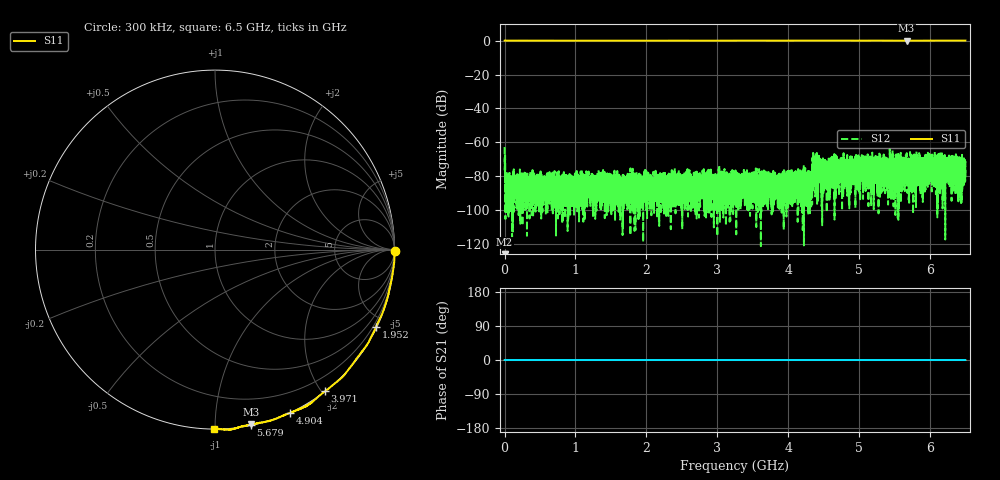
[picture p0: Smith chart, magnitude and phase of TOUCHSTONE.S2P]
!Keysight Technologies,E5063A,MY54503115,A.05.08
!Date: Wed Oct 18 14:30:33 2023
!Data & Calibration Information:
!Freq	S11:NONE(--)	S21:NONE(--)	S12:NONE(--)	S22:NONE(--)
# Hz S dB R 50
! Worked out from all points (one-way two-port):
!   10001 points, 300 kHz to 6.5 GHz, reference 50 ohm
!   highest |S21| = - dB at 300 kHz (marker M1); lowest = - dB at 300 kHz (marker M2)
!   lowest |S11| = -0.1 dB at 5.671 GHz (marker M3), VSWR 302.82, Z = 0.414 - j61.4 ohm
!   |S11| at or under -10 dB: nowhere
!   |S22| runs from - to - dB; largest |S21 - S12| = 0.00073
!   S11 on the Smith chart (normalised r, x): 300 kHz: open; 1.952 GHz: 0.05, -4.37; 3.971 GHz: 0.00, -2.04; 4.904 GHz: -0.00, -1.56; 5.679 GHz: 0.01, -1.22; 6.5 GHz: -0.01, -1.00
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300000  0.01 -0.4  -200.00 0.0  -62.74 134.6  -200.00 0.0
3.344847e7  -0.00 -0.7  -200.00 0.0  -80.54 -25.1  -200.00 0.0
4.384799e7  0.00 -0.8  -200.00 0.0  -87.68 -104.6  -200.00 0.0
1.0838e9  -0.02 -14.0  -200.00 0.0  -83.42 3.6  -200.00 0.0
1.95216e9  -0.05 -25.8  -200.00 0.0  -98.21 33.9  -200.00 0.0
2.1673e9  -0.03 -28.1  -200.00 0.0  -84.72 -136.6  -200.00 0.0
3.25015e9  0.00 -42.4  -200.00 0.0  -86.03 -171.0  -200.00 0.0
3.970967e9  -0.00 -52.2  -200.00 0.0  -93.99 126.2  -200.00 0.0
4.307651e9  0.06 -57.2  -200.00 0.0  -79.63 -48.6  -200.00 0.0
4.33365e9  0.06 -57.5  -200.00 0.0  -84.11 58.2  -200.00 0.0
4.384348e9  0.07 -58.2  -200.00 0.0  -71.80 16.0  -200.00 0.0
4.532541e9  0.07 -60.2  -200.00 0.0  -83.85 62.0  -200.00 0.0
4.668385e9  0.05 -62.2  -200.00 0.0  -71.96 -126.9  -200.00 0.0
4.904324e9  0.00 -65.4  -200.00 0.0  -74.87 -61.1  -200.00 0.0
5.41715e9  -0.01 -74.2  -200.00 0.0  -86.68 -59.0  -200.00 0.0
5.670638e9  -0.06 -78.3  -200.00 0.0  -68.88 63.8  -200.00 0.0
5.679088e9  -0.04 -78.5  -200.00 0.0  -68.36 119.0  -200.00 0.0
6.086619e9  0.01 -83.1  -200.00 0.0  -78.94 157.3  -200.00 0.0
6.153566e9  0.03 -83.9  -200.00 0.0  -68.51 -64.9  -200.00 0.0
6.232862e9  0.05 -85.1  -200.00 0.0  -77.02 -156.8  -200.00 0.0
6.467502e9  -0.03 -89.6  -200.00 0.0  -80.59 -84.7  -200.00 0.0
6.5e9  0.04 -90.1  -200.00 0.0  -80.35 173.6  -200.00 0.0
